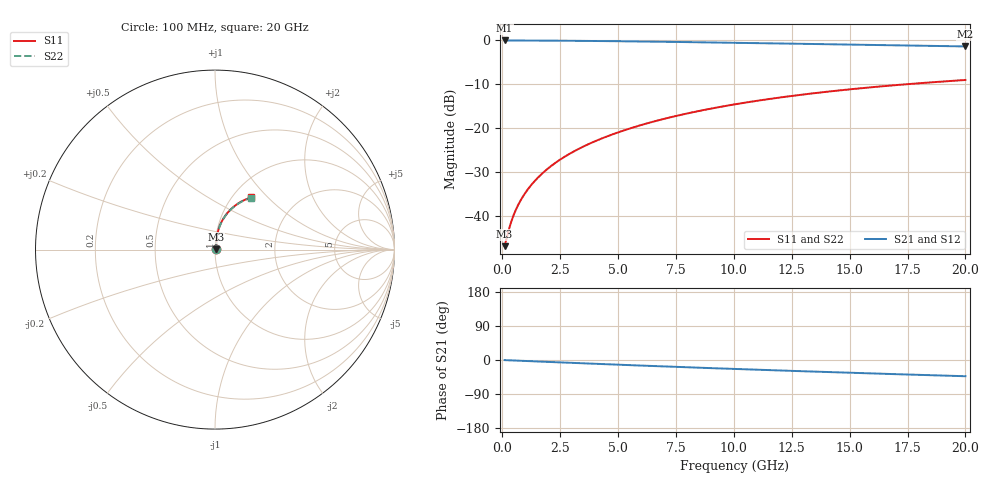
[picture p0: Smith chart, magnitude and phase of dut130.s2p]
! Touchstone file exported from HFSS 2024.1.0
!  File:  C:/UserFiles/LocalFiles/RDL_TSV_Batchsim/temp_RDL_top_130_1778684370.aedt
!  Generated:  11:01:31 PM May 13, 2026
!  Design:  RDL_top
!  Project:  temp_RDL_top_130_1778684370
!  Setup:  Setup1
!  Solution:  Sweep
! Variables:
!  dtsv = 10.80580581um
!  hbump = 3um
!  htsv = 70.63um
!  ldown = 100um
!  lrdl = 645.71um
!  p = 40
!  p1 = 40.92um
!  rhole = 1um
!  t = 450um
!  tdown = 3.915915916um
!  trdl = 2.85um
!  wdown = 15.38538539um
!  wrdl = 20.48um
# GHz S MA R 50.000000
! Terminal data exported
! Port[1] = Box2_T1
! Port[2] = Box2_T2
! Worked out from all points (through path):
!   200 points, 100 MHz to 20 GHz, reference 50 ohm
!   highest |S21| = -0.04 dB at 100 MHz (marker M1); lowest = -1.4 dB at 20 GHz (marker M2)
!   group delay of S21, straight-line fit = 5.92 ps
!   lowest |S11| = -46.8 dB at 100 MHz (marker M3), VSWR 1.01, Z = 50.4 + j0.202 ohm
!   |S11| at or under -10 dB: start of sweep to 17.41 GHz
!   |S22| runs from -46.8 to -9.0 dB; largest |S21 - S12| = 3.4e-15
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0.1  0.00459 25.8  0.9959 -0.3  0.9959 -0.3  0.00459 25.8
! Gamma 0 0 0 0
! Port Impedance 50 0 50 0
0.3  0.007332 52.3  0.9955 -0.8  0.9955 -0.8  0.007333 52.3
0.4  0.008916 58.3  0.9952 -1.1  0.9952 -1.1  0.008916 58.3
0.5  0.01051 62.4  0.995 -1.3  0.995 -1.3  0.01051 62.4
0.6  0.01211 65.5  0.9947 -1.6  0.9947 -1.6  0.01211 65.5
0.8  0.01533 69.8  0.9943 -2.1  0.9943 -2.1  0.01533 69.8
1  0.01859 72.9  0.9939 -2.6  0.9939 -2.6  0.01859 72.8
1.2  0.02189 75.0  0.9935 -3.1  0.9935 -3.1  0.02189 75.0
1.7  0.03031 78.4  0.9922 -4.3  0.9922 -4.3  0.03031 78.4
2.2  0.03894 80.2  0.9906 -5.6  0.9906 -5.6  0.03893 80.2
2.8  0.0495 81.3  0.9882 -7.1  0.9882 -7.1  0.04949 81.3
3.5  0.0621 81.9  0.9849 -8.8  0.9849 -8.8  0.06208 81.8
4.2  0.07497 81.9  0.9811 -10.5  0.9811 -10.5  0.07493 81.8
5  0.08997 81.4  0.9761 -12.4  0.9761 -12.4  0.08991 81.3
5.9  0.1071 80.6  0.9699 -14.5  0.9699 -14.5  0.107 80.5
6.8  0.1245 79.5  0.9633 -16.6  0.9633 -16.6  0.1244 79.4
8.4  0.1557 77.0  0.9506 -20.1  0.9506 -20.1  0.1555 76.9
10.1  0.1885 74.0  0.9364 -23.8  0.9364 -23.8  0.1882 73.8
11.7  0.2187 70.9  0.9227 -27.1  0.9227 -27.1  0.2183 70.8
13.4  0.2495 67.7  0.9081 -30.5  0.9081 -30.5  0.2491 67.5
16.7  0.3051 61.3  0.8796 -36.8  0.8796 -36.8  0.3045 61.1
20  0.3542 55.2  0.8519 -42.8  0.8519 -42.8  0.3534 55.0
